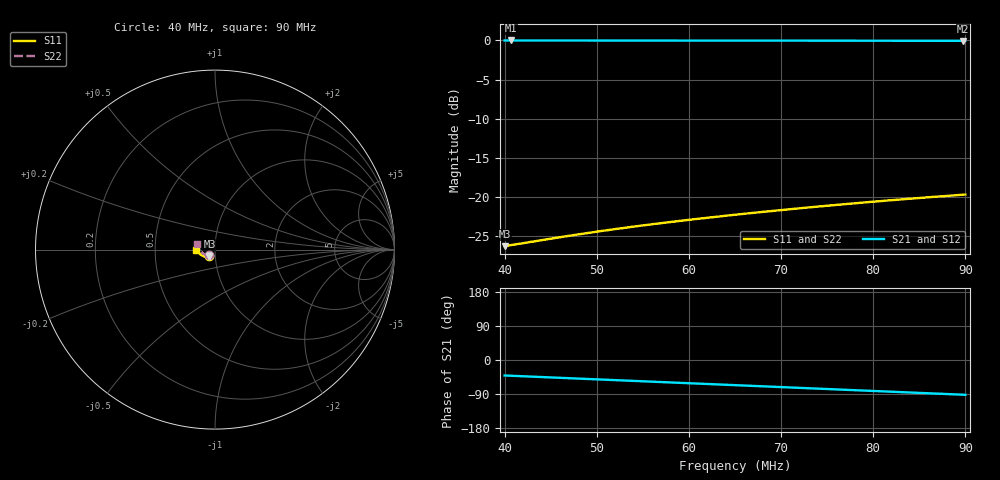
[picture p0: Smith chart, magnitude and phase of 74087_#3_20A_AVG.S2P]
!Agilent Technologies,E5061B,MY49102235,A.02.00
!Date: Mon Jul 03 11:21:13 2023
!Data & Calibration Information:
!Freq	S11:SOLT2(ON)	S21:SOLT2(ON)	S12:SOLT2(ON)	S22:SOLT2(ON)
# Hz S RI R 50
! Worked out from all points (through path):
!   1600 points, 40 MHz to 90 MHz, reference 50 ohm
!   highest |S21| = -0.01 dB at 40.69 MHz (marker M1); lowest = -0.1 dB at 89.78 MHz (marker M2)
!   group delay of S21, straight-line fit = 2.83 ns
!   lowest |S11| = -26.3 dB at 40 MHz (marker M3), VSWR 1.10, Z = 46.9 - j3.48 ohm
!   |S11| at or under -10 dB: start of sweep to end of sweep
!   |S22| runs from -26.4 to -19.7 dB; largest |S21 - S12| = 0.0014
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4e7  -0.031 -0.0371  0.7555 -0.6537  0.7556 -0.6528  -0.0356 -0.0317
4.068793e7  -0.032 -0.0373  0.7476 -0.6629  0.7477 -0.6619  -0.0366 -0.0317
4.300188e7  -0.0352 -0.0378  0.7193 -0.6929  0.7195 -0.6923  -0.0404 -0.0315
4.444028e7  -0.0372 -0.0382  0.7011 -0.7109  0.7015 -0.7105  -0.0428 -0.0313
4.834897e7  -0.0429 -0.0388  0.6498 -0.7577  0.6499 -0.7574  -0.0491 -0.0299
5.225766e7  -0.049 -0.0389  0.5951 -0.801  0.5952 -0.8005  -0.0554 -0.0277
5.482176e7  -0.0527 -0.0386  0.5578 -0.8269  0.5579 -0.8266  -0.0595 -0.0257
5.666667e7  -0.0557 -0.0382  0.5303 -0.8445  0.5303 -0.844  -0.0623 -0.024
5.873046e7  -0.059 -0.0375  0.4991 -0.8634  0.4989 -0.8628  -0.0654 -0.0221
6.082552e7  -0.0622 -0.0366  0.4665 -0.8811  0.4664 -0.8805  -0.0683 -0.0199
6.501563e7  -0.069 -0.0337  0.3994 -0.9134  0.3997 -0.9125  -0.0742 -0.0152
6.901814e7  -0.0754 -0.0301  0.3333 -0.9394  0.3339 -0.9386  -0.0796 -0.00994
7.133208e7  -0.079 -0.0276  0.2941 -0.9522  0.2947 -0.9514  -0.0826 -0.00646
7.33646e7  -0.0822 -0.0254  0.2592 -0.9622  0.26 -0.9614  -0.0851 -0.0033
7.530331e7  -0.0851 -0.0229  0.2256 -0.9702  0.2263 -0.9698  -0.0873 -5.36e-05
7.746091e7  -0.0879 -0.0201  0.1882 -0.9778  0.1886 -0.9774  -0.0897 0.00374
7.936836e7  -0.0907 -0.0175  0.1546 -0.9831  0.1552 -0.9829  -0.0916 0.00746
8.16823e7  -0.0938 -0.0143  0.114 -0.9883  0.1146 -0.9881  -0.0937 0.0121
8.362101e7  -0.0961 -0.0114  0.0797 -0.9911  0.0803 -0.991  -0.0952 0.0161
8.596623e7  -0.0989 -0.0078  0.0386 -0.9934  0.0389 -0.9931  -0.0966 0.0212
8.978111e7  -0.1032 -0.00137  -0.0284 -0.993  -0.0282 -0.9927  -0.0986 0.0298
9e7  -0.1034 -0.0009  -0.032 -0.9929  -0.032 -0.9925  -0.0987 0.0304
